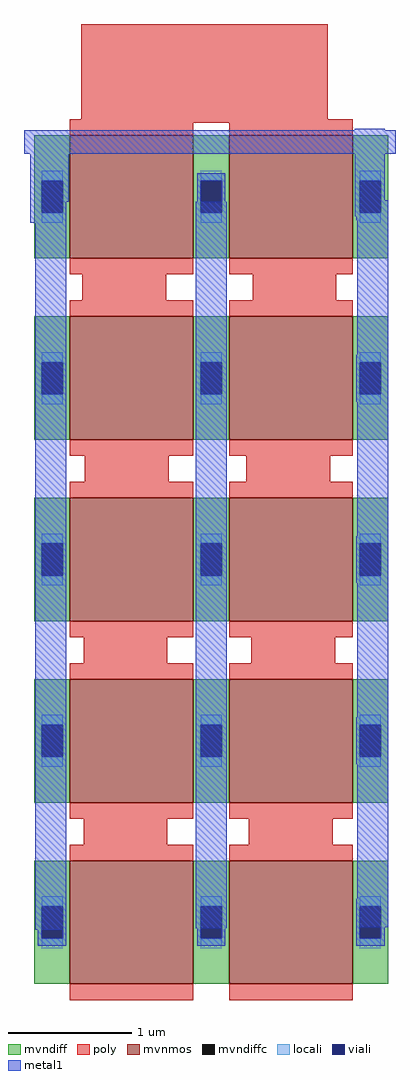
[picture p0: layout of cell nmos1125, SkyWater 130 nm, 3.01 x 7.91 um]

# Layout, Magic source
magic
tech sky130A
magscale 1 2
<< poly >>
rect 76 1422 476 1582
rect 78 1128 214 1190
rect 354 1128 490 1190
rect 82 828 218 890
rect 344 824 480 886
rect 80 536 216 598
rect 352 536 488 598
rect 80 244 216 306
rect 348 238 484 300
<< metal1 >>
rect 520 1410 568 1412
rect -16 1372 586 1410
rect -6 1294 56 1372
rect 520 1296 568 1372
rect -6 1292 42 1294
rect -6 1260 52 1292
rect 2 114 52 1260
rect 262 116 312 1294
rect 520 1270 574 1296
rect 524 118 574 1270
use sky130_fd_pr__nfet_g5v0d10v5_HSTZHU  sky130_fd_pr__nfet_g5v0d10v5_HSTZHU_0
transform 1 0 287 0 1 714
box -287 -714 287 714
<< end >>

# cell sky130_fd_pr__nfet_g5v0d10v5_HSTZHU: kit device sky130_fd_pr__nfet_g5v0d10v5, w 1 l 1 m 5 nf 2 diffcov 30 polycov 100 guard 0 glc 1 grc 1 gtc 0 gbc 0 tbcov 50 rlcov 50 topc 0 botc 0 poverlap 0 doverlap 1 lmin 0.50 wmin 0.42 compatible {sky130_fd_pr__nfet_01v8 sky130_fd_pr__nfet_01v8_lvt sky130_fd_bs_flash__special_sonosfet_star sky130_fd_pr__nfet_g5v0d10v5 sky130_fd_pr__nfet_05v0_nvt sky130_fd_pr__nfet_03v3_nvt} full_metal 0 viasrc 30 viadrn 30 viagate 100 viagb 0 viagr 0 viagl 0 viagt 0
